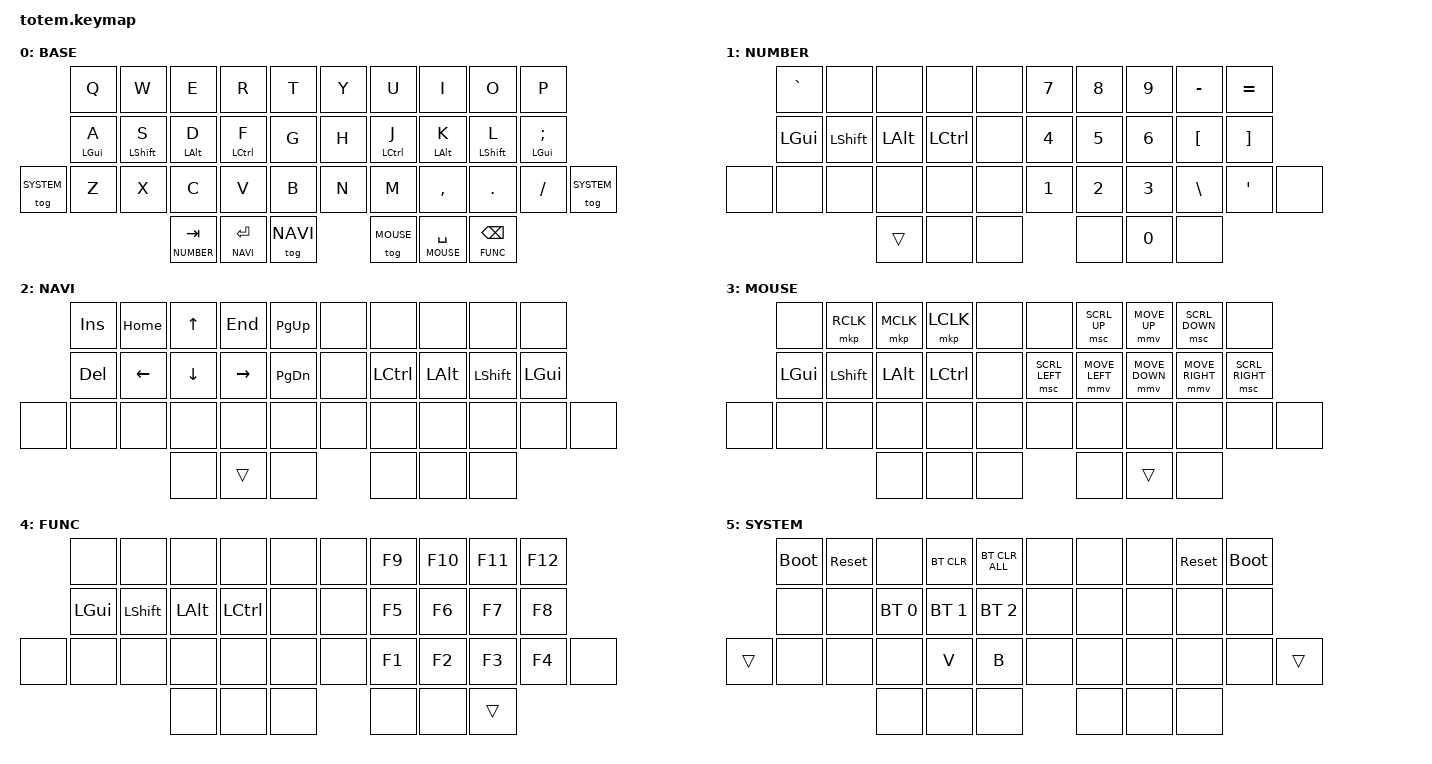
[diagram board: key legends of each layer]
//
//                                                        ▀▀▀▀▀     ▀▀▀▀▀          ▀▀█▀▀
//                                                        ▄▀▀▀▄  ▄  ▄▀▀▀▄  ▄  ▄▀▀▀▄  █  ▄▀▀▀▄
//                                                        █   █  █  █   █  █  █   █  █  █   █
//                                                         ▀▀▀   █   ▀▀▀   █   ▀▀▀   ▀   ▀▀▀
//                                                               █      ▄▄▄█▄▄▄    █   █  
//                                                               ▀      █  █  █     █▄█
//                                                             ▀▀▀▀▀    █  █  █      ▀
//                                                                      ▀  ▀  ▀
//
// ▄▄▄▄▄▄▄▄▄▄▄▄▄▄▄▄▄▄▄▄▄▄▄▄▄▄▄▄▄▄▄▄▄▄▄▄▄▄▄▄▄▄▄▄▄▄▄▄▄▄▄▄▄▄▄▄▄▄▄▄▄▄▄▄▄▄▄▄▄▄▄▄▄▄▄▄▄▄▄▄▄▄▄▄▄▄▄▄▄▄▄▄▄▄▄▄▄▄▄▄▄▄▄▄▄▄▄▄▄▄▄▄▄▄▄▄▄▄▄▄▄▄▄▄▄▄▄▄▄▄▄▄▄▄▄▄▄▄▄▄▄▄▄▄▄▄▄▄▄

#include <behaviors.dtsi>
#include <dt-bindings/zmk/keys.h>
#include <dt-bindings/zmk/bt.h>
#include <dt-bindings/zmk/outputs.h>

#define ZMK_POINTING_DEFAULT_MOVE_VAL 1500  // default: 600
#define ZMK_POINTING_DEFAULT_SCRL_VAL 20    // default: 10

#include <dt-bindings/zmk/pointing.h>

&mt {
    tapping-term-ms = <200>;
    flavor = "tap-preferred";
};

&lt {
    tapping-term-ms = <200>;
    flavor = "tap-preferred";
};

&mmv {
    x-input-code = <INPUT_REL_X>;
    y-input-code = <INPUT_REL_Y>;
    time-to-max-speed-ms = <300>;
    acceleration-exponent = <1>;
};

&msc {
    x-input-code = <INPUT_REL_HWHEEL>;
    y-input-code = <INPUT_REL_WHEEL>;
    time-to-max-speed-ms = <300>;
    acceleration-exponent = <0>;
};

#define BASE 0
#define NUMBER 1
#define NAVI 2
#define MOUSE 3
#define FUNC 4
#define SYSTEM 5

/ {
    combos {
            compatible = "zmk,combos";
            
            combo_esc {
                timeout-ms = <50>;
                key-positions = <0 1 2>;
                bindings = <&kp ESC>;
            };

            combo_ralt {
                timeout-ms = <50>;
                key-positions = <6 7 8>;
                bindings = <&kp RALT>;
            };

            combo_rctl {
                timeout-ms = <50>;
                key-positions = <7 8 9>;
                bindings = <&kp RCTRL>;
            };
    };

    keymap {
        compatible = "zmk,keymap";
    // ▄▄▄▄▄▄▄▄▄▄▄▄▄▄▄▄▄▄▄▄▄▄▄▄▄▄▄▄▄▄▄▄▄▄▄▄▄▄▄▄▄▄▄▄▄▄▄▄▄▄▄▄▄▄▄▄▄▄▄▄▄▄▄▄▄▄▄▄▄▄▄▄▄▄▄▄▄▄▄▄▄▄▄▄▄▄▄▄▄▄▄▄▄▄▄▄▄▄▄▄▄▄▄▄▄▄▄▄▄▄▄▄▄▄▄▄▄▄▄▄▄▄▄▄▄▄▄▄▄▄▄▄▄▄▄▄▄▄▄▄▄▄▄▄▄▄▄▄▄

        base_layer {
    // ┏━━━━━━━━━━━━━━━━━━━━━━━━━━━━━━━━━━━━━━━┓
            label= "BASE";
    // ┗━━━━━━━━━━━━━━━━━━━━━━━━━━━━━━━━━━━━━━━┛
    //             ┏━━━━━━━━━━━┳━━━━━━━━━━━┳━━━━━━━━━━━┳━━━━━━━━━━━┳━━━━━━━━━━━┓   ┏━━━━━━━━━━━┳━━━━━━━━━━━┳━━━━━━━━━━━┳━━━━━━━━━━━┳━━━━━━━━━━━┓
    //             ┃     Q     ┃     W     ┃     E     ┃     R     ┃     T     ┃   ┃     Y     ┃     U     ┃     I     ┃     O     ┃     P     ┃
    //             ┣━━━━━━━━━━━╋━━━━━━━━━━━╋━━━━━━━━━━━╋━━━━━━━━━━━╋━━━━━━━━━━━┫   ┣━━━━━━━━━━━╋━━━━━━━━━━━╋━━━━━━━━━━━╋━━━━━━━━━━━╋━━━━━━━━━━━┫
    //             ┃     A     ┃     S     ┃     D     ┃     F     ┃     G     ┃   ┃     H     ┃     J     ┃     K     ┃     L     ┃     ;     ┃
    // ┏━━━━━━━━━━━╋━━━━━━━━━━━╋━━━━━━━━━━━╋━━━━━━━━━━━╋━━━━━━━━━━━╋━━━━━━━━━━━┫   ┣━━━━━━━━━━━╋━━━━━━━━━━━╋━━━━━━━━━━━╋━━━━━━━━━━━╋━━━━━━━━━━━╋━━━━━━━━━━━┓
    // ┃           ┃     Z     ┃     X     ┃     C     ┃     V     ┃     B     ┃   ┃     N     ┃     M     ┃     ,     ┃     .     ┃     /     ┃           ┃
    // ┗━━━━━━━━━━━┻━━━━━━━━━━━┻━━━━━━━━━━━╋━━━━━━━━━━━╋━━━━━━━━━━━╋━━━━━━━━━━━┫   ┣━━━━━━━━━━━╋━━━━━━━━━━━╋━━━━━━━━━━━╋━━━━━━━━━━━┻━━━━━━━━━━━┻━━━━━━━━━━━┛
    //                                     ┃    TAB    ┃   ENTER   ┃           ┃   ┃           ┃    SPC    ┃   BSPC    ┃
    //                                     ┗━━━━━━━━━━━┻━━━━━━━━━━━┻━━━━━━━━━━━┛   ┗━━━━━━━━━━━┻━━━━━━━━━━━┻━━━━━━━━━━━┛
            bindings = <
    // ╷           ╷           ╷           ╷           ╷           ╷           ╷   ╷           ╷           ╷           ╷           ╷           ╷           ╷

                    &kp Q       &kp W       &kp E       &kp R       &kp T           &kp Y       &kp U       &kp I       &kp O       &kp P
                    &mt LGUI A  &mt LSHFT S &mt LALT D  &mt LCTRL F &kp G           &kp H       &mt LCTRL J &mt LALT K  &mt LSHFT L &mt LGUI SEMI
        &tog SYSTEM &kp Z       &kp X       &kp C       &kp V       &kp B           &kp N       &kp M       &kp COMMA   &kp DOT     &kp SLASH    &tog SYSTEM
                                            &lt NUMBER TAB  &lt NAVI RET    &tog NAVI  &tog MOUSE  &lt MOUSE SPACE  &lt FUNC BSPC
            >;
        };

    // ▄▄▄▄▄▄▄▄▄▄▄▄▄▄▄▄▄▄▄▄▄▄▄▄▄▄▄▄▄▄▄▄▄▄▄▄▄▄▄▄▄▄▄▄▄▄▄▄▄▄▄▄▄▄▄▄▄▄▄▄▄▄▄▄▄▄▄▄▄▄▄▄▄▄▄▄▄▄▄▄▄▄▄▄▄▄▄▄▄▄▄▄▄▄▄▄▄▄▄▄▄▄▄▄▄▄▄▄▄▄▄▄▄▄▄▄▄▄▄▄▄▄▄▄▄▄▄▄▄▄▄▄▄▄▄▄▄▄▄▄▄▄▄▄▄▄▄▄▄

        number_layer {
    // ┏━━━━━━━━━━━━━━━━━━━━━━━━━━━━━━━━━━━━━━━┓
            label= "NUMBER";
    // ┗━━━━━━━━━━━━━━━━━━━━━━━━━━━━━━━━━━━━━━━┛
    //             ┏━━━━━━━━━━━┳━━━━━━━━━━━┳━━━━━━━━━━━┳━━━━━━━━━━━┳━━━━━━━━━━━┓   ┏━━━━━━━━━━━┳━━━━━━━━━━━┳━━━━━━━━━━━┳━━━━━━━━━━━┳━━━━━━━━━━━┓
    //             ┃     `     ┃           ┃           ┃           ┃           ┃   ┃     7     ┃     8     ┃     9     ┃     -     ┃     =     ┃
    //             ┣━━━━━━━━━━━╋━━━━━━━━━━━╋━━━━━━━━━━━╋━━━━━━━━━━━╋━━━━━━━━━━━┫   ┣━━━━━━━━━━━╋━━━━━━━━━━━╋━━━━━━━━━━━╋━━━━━━━━━━━╋━━━━━━━━━━━┫
    //             ┃   LGUI    ┃   LSHFT   ┃   LALT    ┃   LCTRL   ┃           ┃   ┃     4     ┃     5     ┃     6     ┃     [     ┃     ]     ┃
    // ┏━━━━━━━━━━━╋━━━━━━━━━━━╋━━━━━━━━━━━╋━━━━━━━━━━━╋━━━━━━━━━━━╋━━━━━━━━━━━┫   ┣━━━━━━━━━━━╋━━━━━━━━━━━╋━━━━━━━━━━━╋━━━━━━━━━━━╋━━━━━━━━━━━╋━━━━━━━━━━━┓
    // ┃           ┃           ┃           ┃           ┃           ┃           ┃   ┃     1     ┃     2     ┃     3     ┃     \     ┃     '     ┃           ┃
    // ┗━━━━━━━━━━━┻━━━━━━━━━━━┻━━━━━━━━━━━╋━━━━━━━━━━━╋━━━━━━━━━━━╋━━━━━━━━━━━┫   ┣━━━━━━━━━━━╋━━━━━━━━━━━╋━━━━━━━━━━━╋━━━━━━━━━━━┻━━━━━━━━━━━┻━━━━━━━━━━━┛
    //                                     ┃           ┃           ┃           ┃   ┃           ┃     0     ┃           ┃
    //                                     ┗━━━━━━━━━━━┻━━━━━━━━━━━┻━━━━━━━━━━━┛   ┗━━━━━━━━━━━┻━━━━━━━━━━━┻━━━━━━━━━━━┛
            bindings = <
    // ╷           ╷           ╷           ╷           ╷           ╷           ╷   ╷           ╷           ╷           ╷           ╷           ╷           ╷

                    &kp GRAVE   &none       &none       &none       &none           &kp N7      &kp N8      &kp N9      &kp MINUS   &kp EQUAL
                    &kp LGUI    &kp LSHFT   &kp LALT    &kp LCTRL   &none           &kp N4      &kp N5      &kp N6      &kp LBKT    &kp RBKT
        &none       &none       &none       &none       &none       &none           &kp N1      &kp N2      &kp N3      &kp BSLH    &kp SQT     &none
                                            &trans      &none       &none           &none       &kp N0      &none
            >;
        };

    // ▄▄▄▄▄▄▄▄▄▄▄▄▄▄▄▄▄▄▄▄▄▄▄▄▄▄▄▄▄▄▄▄▄▄▄▄▄▄▄▄▄▄▄▄▄▄▄▄▄▄▄▄▄▄▄▄▄▄▄▄▄▄▄▄▄▄▄▄▄▄▄▄▄▄▄▄▄▄▄▄▄▄▄▄▄▄▄▄▄▄▄▄▄▄▄▄▄▄▄▄▄▄▄▄▄▄▄▄▄▄▄▄▄▄▄▄▄▄▄▄▄▄▄▄▄▄▄▄▄▄▄▄▄▄▄▄▄▄▄▄▄▄▄▄▄▄▄▄▄

        navi_layer {
    // ┏━━━━━━━━━━━━━━━━━━━━━━━━━━━━━━━━━━━━━━━┓
            label= "NAVI";
    // ┗━━━━━━━━━━━━━━━━━━━━━━━━━━━━━━━━━━━━━━━┛
    //             ┏━━━━━━━━━━━┳━━━━━━━━━━━┳━━━━━━━━━━━┳━━━━━━━━━━━┳━━━━━━━━━━━┓   ┏━━━━━━━━━━━┳━━━━━━━━━━━┳━━━━━━━━━━━┳━━━━━━━━━━━┳━━━━━━━━━━━┓
    //             ┃    INS    ┃   HOME    ┃     U     ┃    END    ┃   PGUP    ┃   ┃           ┃           ┃           ┃           ┃           ┃
    //             ┣━━━━━━━━━━━╋━━━━━━━━━━━╋━━━━━━━━━━━╋━━━━━━━━━━━╋━━━━━━━━━━━┫   ┣━━━━━━━━━━━╋━━━━━━━━━━━╋━━━━━━━━━━━╋━━━━━━━━━━━╋━━━━━━━━━━━┫
    //             ┃    DEL    ┃     L     ┃     D     ┃     R     ┃   PGDN    ┃   ┃           ┃   LCTRL   ┃   LALT    ┃   LSHFT   ┃   LGUI    ┃
    // ┏━━━━━━━━━━━╋━━━━━━━━━━━╋━━━━━━━━━━━╋━━━━━━━━━━━╋━━━━━━━━━━━╋━━━━━━━━━━━┫   ┣━━━━━━━━━━━╋━━━━━━━━━━━╋━━━━━━━━━━━╋━━━━━━━━━━━╋━━━━━━━━━━━╋━━━━━━━━━━━┓
    // ┃           ┃           ┃           ┃           ┃           ┃           ┃   ┃           ┃           ┃           ┃           ┃           ┃           ┃
    // ┗━━━━━━━━━━━┻━━━━━━━━━━━┻━━━━━━━━━━━╋━━━━━━━━━━━╋━━━━━━━━━━━╋━━━━━━━━━━━┫   ┣━━━━━━━━━━━╋━━━━━━━━━━━╋━━━━━━━━━━━╋━━━━━━━━━━━┻━━━━━━━━━━━┻━━━━━━━━━━━┛
    //                                     ┃           ┃           ┃           ┃   ┃           ┃           ┃           ┃
    //                                     ┗━━━━━━━━━━━┻━━━━━━━━━━━┻━━━━━━━━━━━┛   ┗━━━━━━━━━━━┻━━━━━━━━━━━┻━━━━━━━━━━━┛
            bindings = <
    // ╷           ╷           ╷           ╷           ╷           ╷           ╷   ╷           ╷           ╷           ╷           ╷           ╷           ╷

                    &kp INS     &kp HOME    &kp UP      &kp END     &kp PG_UP       &none       &none       &none       &none       &none
                    &kp DEL     &kp LEFT    &kp DOWN    &kp RIGHT   &kp PG_DN       &none       &kp LCTRL   &kp LALT    &kp LSHFT   &kp LGUI 
        &none       &none       &none       &none       &none       &none           &none       &none       &none       &none       &none       &none
                                            &none       &trans      &none           &none       &none       &none
            >;
        };

    // ▄▄▄▄▄▄▄▄▄▄▄▄▄▄▄▄▄▄▄▄▄▄▄▄▄▄▄▄▄▄▄▄▄▄▄▄▄▄▄▄▄▄▄▄▄▄▄▄▄▄▄▄▄▄▄▄▄▄▄▄▄▄▄▄▄▄▄▄▄▄▄▄▄▄▄▄▄▄▄▄▄▄▄▄▄▄▄▄▄▄▄▄▄▄▄▄▄▄▄▄▄▄▄▄▄▄▄▄▄▄▄▄▄▄▄▄▄▄▄▄▄▄▄▄▄▄▄▄▄▄▄▄▄▄▄▄▄▄▄▄▄▄▄▄▄▄▄▄▄

        mouse_layer {
    // ┏━━━━━━━━━━━━━━━━━━━━━━━━━━━━━━━━━━━━━━━┓
            label= "MOUSE";
    // ┗━━━━━━━━━━━━━━━━━━━━━━━━━━━━━━━━━━━━━━━┛
    //             ┏━━━━━━━━━━━┳━━━━━━━━━━━┳━━━━━━━━━━━┳━━━━━━━━━━━┳━━━━━━━━━━━┓   ┏━━━━━━━━━━━┳━━━━━━━━━━━┳━━━━━━━━━━━┳━━━━━━━━━━━┳━━━━━━━━━━━┓
    //             ┃           ┃   RCLK    ┃   MCLK    ┃   LCLK    ┃           ┃   ┃           ┃  SCRL_U   ┃     U     ┃  SCRL_D   ┃           ┃
    //             ┣━━━━━━━━━━━╋━━━━━━━━━━━╋━━━━━━━━━━━╋━━━━━━━━━━━╋━━━━━━━━━━━┫   ┣━━━━━━━━━━━╋━━━━━━━━━━━╋━━━━━━━━━━━╋━━━━━━━━━━━╋━━━━━━━━━━━┫
    //             ┃   LGUI    ┃   LSHFT   ┃   LALT    ┃   LCTRL   ┃           ┃   ┃  SCRL_L   ┃     L     ┃     D     ┃     R     ┃  SCRL_R   ┃
    // ┏━━━━━━━━━━━╋━━━━━━━━━━━╋━━━━━━━━━━━╋━━━━━━━━━━━╋━━━━━━━━━━━╋━━━━━━━━━━━┫   ┣━━━━━━━━━━━╋━━━━━━━━━━━╋━━━━━━━━━━━╋━━━━━━━━━━━╋━━━━━━━━━━━╋━━━━━━━━━━━┓
    // ┃           ┃           ┃           ┃           ┃           ┃           ┃   ┃           ┃           ┃           ┃           ┃           ┃           ┃
    // ┗━━━━━━━━━━━┻━━━━━━━━━━━┻━━━━━━━━━━━╋━━━━━━━━━━━╋━━━━━━━━━━━╋━━━━━━━━━━━┫   ┣━━━━━━━━━━━╋━━━━━━━━━━━╋━━━━━━━━━━━╋━━━━━━━━━━━┻━━━━━━━━━━━┻━━━━━━━━━━━┛
    //                                     ┃           ┃           ┃           ┃   ┃           ┃           ┃           ┃
    //                                     ┗━━━━━━━━━━━┻━━━━━━━━━━━┻━━━━━━━━━━━┛   ┗━━━━━━━━━━━┻━━━━━━━━━━━┻━━━━━━━━━━━┛
            bindings = <
    // ╷           ╷           ╷           ╷           ╷           ╷           ╷   ╷           ╷           ╷           ╷           ╷           ╷           ╷

                    &none       &mkp RCLK   &mkp MCLK   &mkp LCLK   &none           &none       &msc SCRL_UP &mmv MOVE_UP &msc SCRL_DOWN &none
                    &kp LGUI    &kp LSHFT   &kp LALT    &kp LCTRL   &none           &msc SCRL_LEFT &mmv MOVE_LEFT &mmv MOVE_DOWN &mmv MOVE_RIGHT &msc SCRL_RIGHT
        &none       &none       &none       &none       &none       &none           &none       &none       &none       &none       &none       &none
                                            &none       &none       &none           &none       &trans      &none
            >;
        };

    // ▄▄▄▄▄▄▄▄▄▄▄▄▄▄▄▄▄▄▄▄▄▄▄▄▄▄▄▄▄▄▄▄▄▄▄▄▄▄▄▄▄▄▄▄▄▄▄▄▄▄▄▄▄▄▄▄▄▄▄▄▄▄▄▄▄▄▄▄▄▄▄▄▄▄▄▄▄▄▄▄▄▄▄▄▄▄▄▄▄▄▄▄▄▄▄▄▄▄▄▄▄▄▄▄▄▄▄▄▄▄▄▄▄▄▄▄▄▄▄▄▄▄▄▄▄▄▄▄▄▄▄▄▄▄▄▄▄▄▄▄▄▄▄▄▄▄▄▄▄

        func_layer {
    // ┏━━━━━━━━━━━━━━━━━━━━━━━━━━━━━━━━━━━━━━━┓
            label= "FUNC";
    // ┗━━━━━━━━━━━━━━━━━━━━━━━━━━━━━━━━━━━━━━━┛
    //             ┏━━━━━━━━━━━┳━━━━━━━━━━━┳━━━━━━━━━━━┳━━━━━━━━━━━┳━━━━━━━━━━━┓   ┏━━━━━━━━━━━┳━━━━━━━━━━━┳━━━━━━━━━━━┳━━━━━━━━━━━┳━━━━━━━━━━━┓
    //             ┃           ┃           ┃           ┃           ┃           ┃   ┃           ┃    F9     ┃    F10    ┃    F11    ┃    F12    ┃
    //             ┣━━━━━━━━━━━╋━━━━━━━━━━━╋━━━━━━━━━━━╋━━━━━━━━━━━╋━━━━━━━━━━━┫   ┣━━━━━━━━━━━╋━━━━━━━━━━━╋━━━━━━━━━━━╋━━━━━━━━━━━╋━━━━━━━━━━━┫
    //             ┃   LGUI    ┃   LSHFT   ┃   LALT    ┃   LCTRL   ┃           ┃   ┃           ┃    F5     ┃    F6     ┃    F7     ┃    F8     ┃
    // ┏━━━━━━━━━━━╋━━━━━━━━━━━╋━━━━━━━━━━━╋━━━━━━━━━━━╋━━━━━━━━━━━╋━━━━━━━━━━━┫   ┣━━━━━━━━━━━╋━━━━━━━━━━━╋━━━━━━━━━━━╋━━━━━━━━━━━╋━━━━━━━━━━━╋━━━━━━━━━━━┓
    // ┃           ┃           ┃           ┃           ┃           ┃           ┃   ┃           ┃    F1     ┃    F2     ┃    F3     ┃    F4     ┃           ┃
    // ┗━━━━━━━━━━━┻━━━━━━━━━━━┻━━━━━━━━━━━╋━━━━━━━━━━━╋━━━━━━━━━━━╋━━━━━━━━━━━┫   ┣━━━━━━━━━━━╋━━━━━━━━━━━╋━━━━━━━━━━━╋━━━━━━━━━━━┻━━━━━━━━━━━┻━━━━━━━━━━━┛
    //                                     ┃           ┃           ┃           ┃   ┃           ┃           ┃           ┃
    //                                     ┗━━━━━━━━━━━┻━━━━━━━━━━━┻━━━━━━━━━━━┛   ┗━━━━━━━━━━━┻━━━━━━━━━━━┻━━━━━━━━━━━┛
            bindings = <
    // ╷           ╷           ╷           ╷           ╷           ╷           ╷   ╷           ╷           ╷           ╷           ╷           ╷           ╷

                    &none       &none       &none       &none       &none           &none       &kp F9      &kp F10     &kp F11     &kp F12
                    &kp LGUI    &kp LSHFT   &kp LALT    &kp LCTRL   &none           &none       &kp F5      &kp F6      &kp F7      &kp F8
        &none       &none       &none       &none       &none       &none           &none       &kp F1      &kp F2      &kp F3      &kp F4    &none
                                            &none       &none       &none           &none       &none       &trans
            >;
        };

    // ▄▄▄▄▄▄▄▄▄▄▄▄▄▄▄▄▄▄▄▄▄▄▄▄▄▄▄▄▄▄▄▄▄▄▄▄▄▄▄▄▄▄▄▄▄▄▄▄▄▄▄▄▄▄▄▄▄▄▄▄▄▄▄▄▄▄▄▄▄▄▄▄▄▄▄▄▄▄▄▄▄▄▄▄▄▄▄▄▄▄▄▄▄▄▄▄▄▄▄▄▄▄▄▄▄▄▄▄▄▄▄▄▄▄▄▄▄▄▄▄▄▄▄▄▄▄▄▄▄▄▄▄▄▄▄▄▄▄▄▄▄▄▄▄▄▄▄▄▄

        system_layer {
    // ┏━━━━━━━━━━━━━━━━━━━━━━━━━━━━━━━━━━━━━━━┓
            label= "SYSTEM";
    // ┗━━━━━━━━━━━━━━━━━━━━━━━━━━━━━━━━━━━━━━━┛
    //             ┏━━━━━━━━━━━┳━━━━━━━━━━━┳━━━━━━━━━━━┳━━━━━━━━━━━┳━━━━━━━━━━━┓   ┏━━━━━━━━━━━┳━━━━━━━━━━━┳━━━━━━━━━━━┳━━━━━━━━━━━┳━━━━━━━━━━━┓
    //             ┃BOOT_LOADER┃   RESET   ┃           ┃  BT_CLR   ┃BT_CLR_ALL ┃   ┃           ┃           ┃           ┃   RESET   ┃BOOT_LOADER┃
    //             ┣━━━━━━━━━━━╋━━━━━━━━━━━╋━━━━━━━━━━━╋━━━━━━━━━━━╋━━━━━━━━━━━┫   ┣━━━━━━━━━━━╋━━━━━━━━━━━╋━━━━━━━━━━━╋━━━━━━━━━━━╋━━━━━━━━━━━┫
    //             ┃           ┃           ┃ BT_SEL 0  ┃  BT_SEL 1 ┃ BT_SEL 2  ┃   ┃           ┃           ┃           ┃           ┃           ┃
    // ┏━━━━━━━━━━━╋━━━━━━━━━━━╋━━━━━━━━━━━╋━━━━━━━━━━━╋━━━━━━━━━━━╋━━━━━━━━━━━┫   ┣━━━━━━━━━━━╋━━━━━━━━━━━╋━━━━━━━━━━━╋━━━━━━━━━━━╋━━━━━━━━━━━╋━━━━━━━━━━━┓
    // ┃           ┃           ┃           ┃           ┃           ┃           ┃   ┃           ┃           ┃           ┃           ┃           ┃           ┃
    // ┗━━━━━━━━━━━┻━━━━━━━━━━━┻━━━━━━━━━━━╋━━━━━━━━━━━╋━━━━━━━━━━━╋━━━━━━━━━━━┫   ┣━━━━━━━━━━━╋━━━━━━━━━━━╋━━━━━━━━━━━╋━━━━━━━━━━━┻━━━━━━━━━━━┻━━━━━━━━━━━┛
    //                                     ┃           ┃           ┃           ┃   ┃           ┃           ┃           ┃
    //                                     ┗━━━━━━━━━━━┻━━━━━━━━━━━┻━━━━━━━━━━━┛   ┗━━━━━━━━━━━┻━━━━━━━━━━━┻━━━━━━━━━━━┛
            bindings = <
    // ╷           ╷           ╷           ╷           ╷           ╷           ╷   ╷           ╷           ╷           ╷           ╷           ╷           ╷

                    &bootloader &sys_reset  &none       &bt BT_CLR  &bt BT_CLR_ALL  &none       &none       &none       &sys_reset  &bootloader
                    &none       &none       &bt BT_SEL 0 &bt BT_SEL 1 &bt BT_SEL 2  &none       &none       &none       &none       &none
        &trans      &none       &none       &none       &kp V       &kp B           &none       &none       &none       &none       &none       &trans
                                            &none       &none       &none           &none       &none       &none
            >;
        };
    };
};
